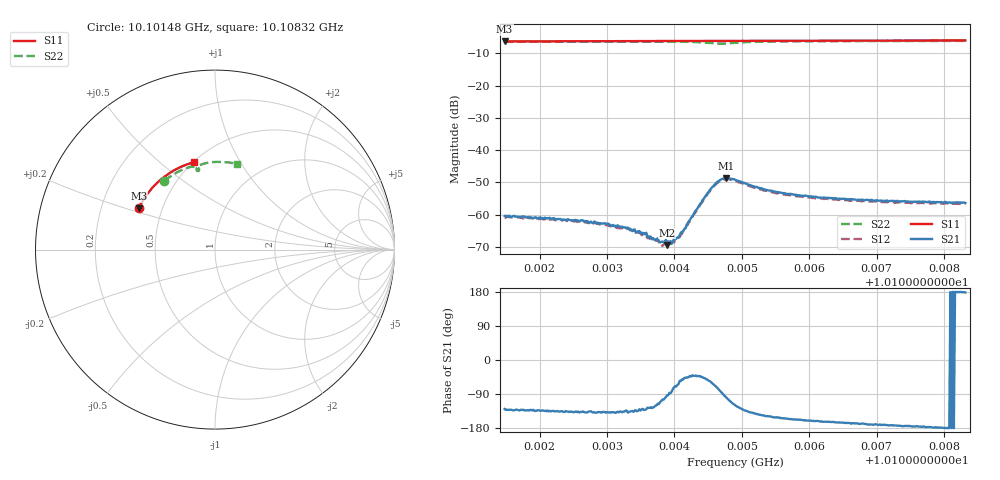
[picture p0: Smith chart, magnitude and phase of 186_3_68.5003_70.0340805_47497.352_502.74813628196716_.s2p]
#  HZ  S  RI  R  50.00
! Rohde & Schwarz Vector Network Analyzer
! Rohde-Schwarz,ZNB20-2Port,1311601062101988,3.16
! Created: UTC 3/20/2024, 4:56:55 PM
! freq[Hz]  re:S11  im:S11  re:S21  im:S21  re:S12  im:S12  re:S22  im:S22
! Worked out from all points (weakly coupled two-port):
!   401 points, 10.10148 GHz to 10.10832 GHz, reference 50 ohm
!   highest |S21| = -48.68 dB at 10.10476 GHz (marker M1); lowest = -69.4 dB at 10.10389 GHz (marker M2)
!   lowest |S11| = -6.3 dB at 10.10148 GHz (marker M3), VSWR 2.87, Z = 18.4 + j11 ohm
!   |S11| at or under -10 dB: nowhere
!   |S22| runs from -7.0 to -6.1 dB; largest |S21 - S12| = 0.00038
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1.0101479e10  -0.4252 0.2302  -0.000604 -0.000739  -0.00051 -0.000733  -0.2819 0.3835
1.0102624e10  -0.3907 0.2908  -0.000601 -0.000557  -0.000506 -0.000565  -0.2202 0.4258
1.0102983e10  -0.3781 0.3086  -0.000548 -0.000477  -0.000465 -0.000504  -0.1992 0.4369
1.0103359e10  -0.364 0.3267  -0.000411 -0.000409  -0.000366 -0.000434  -0.1759 0.4474
1.0103547e10  -0.3568 0.3355  -0.000346 -0.000383  -0.000279 -0.000406  -0.1638 0.4521
1.0103633e10  -0.3533 0.3395  -0.000273 -0.000369  -0.000221 -0.000357  -0.1581 0.4543
1.010377e10  -0.3479 0.3456  -0.000172 -0.000347  -0.000127 -0.00036  -0.1487 0.4571
1.0103821e10  -0.3459 0.3479  -9.51e-05 -0.00037  -8.61e-05 -0.000312  -0.1449 0.4582
1.0103889e10  -0.343 0.3509  -2.06e-05 -0.000337  2.05e-05 -0.00036  -0.1399 0.4594
1.0103958e10  -0.3401 0.354  3.91e-05 -0.000348  0.000101 -0.000361  -0.1349 0.4605
1.0104077e10  -0.3351 0.3592  0.000277 -0.000394  0.000255 -0.000369  -0.1254 0.462
1.0104146e10  -0.3322 0.3622  0.000405 -0.000441  0.000427 -0.000395  -0.1198 0.4624
1.0104385e10  -0.3217 0.3722  0.00109 -0.00101  0.00109 -0.000922  -0.0989 0.4587
1.0104539e10  -0.315 0.3785  0.00133 -0.00212  0.00146 -0.00193  -0.0887 0.4484
1.0104659e10  -0.3095 0.3832  0.000685 -0.00324  0.000933 -0.00309  -0.091 0.4386
1.0104761e10  -0.3048 0.3872  -0.000488 -0.00365  -0.000187 -0.0035  -0.0989 0.4387
1.0104898e10  -0.2987 0.3927  -0.00168 -0.00304  -0.00138 -0.00303  -0.1024 0.4497
1.0105206e10  -0.2842 0.4044  -0.00211 -0.00166  -0.0019 -0.00173  -0.0851 0.4698
1.0105479e10  -0.2708 0.4143  -0.00201 -0.00108  -0.00179 -0.00122  -0.0654 0.4781
1.0106043e10  -0.2422 0.4331  -0.0018 -0.00063  -0.00164 -0.000753  -0.0261 0.4859
1.0107189e10  -0.1807 0.4652  -0.00161 -0.000204  -0.00152 -0.000366  0.0494 0.488
1.0108317e10  -0.1163 0.4873  -0.00151 5.22e-05  -0.00148 -0.000129  0.1212 0.478
